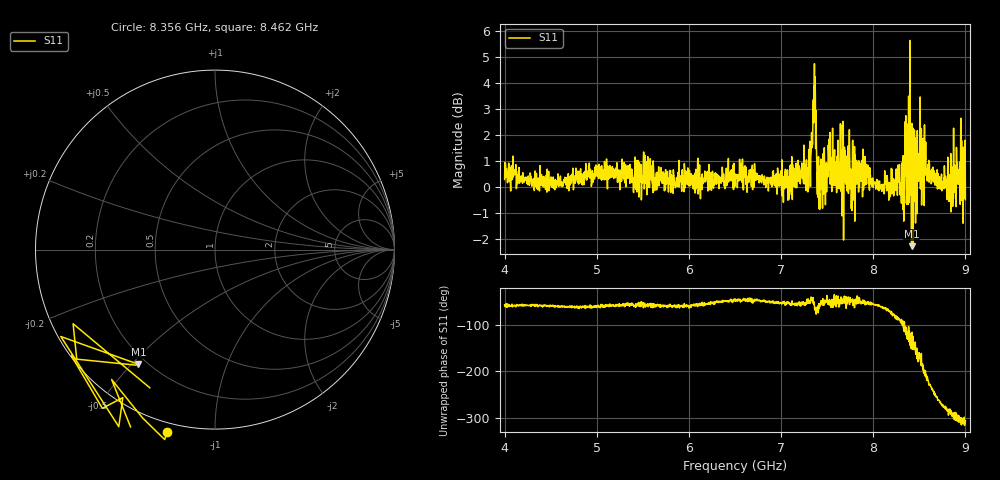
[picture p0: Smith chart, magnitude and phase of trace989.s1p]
! Created with skrf 1.8.0 (http://scikit-rf.org).
# Hz S RI R 50.0
!freq ReS11 ImS11
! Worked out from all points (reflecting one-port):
!   1601 points, 4 GHz to 9 GHz, reference 50 ohm
!   lowest |S11| = -2.3 dB at 8.416 GHz (marker M1), VSWR 7.64, Z = 8.38 - j26.2 ohm
!   phase of S11 starts at -56 deg and turns -251 deg over the sweep
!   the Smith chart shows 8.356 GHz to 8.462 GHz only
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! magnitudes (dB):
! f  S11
! 4 GHz  0.3
! 4.625 GHz  0.0
! 5.25 GHz  -0.1
! 5.875 GHz  0.0
! 6.5 GHz  0.0
! 7.125 GHz  0.9
! 7.297 GHz  -0.1
! 7.356 GHz  3.9
! 7.372 GHz  3.5
! 7.397 GHz  0.6
! 7.412 GHz  -0.8
! 7.538 GHz  1.1
! 7.75 GHz  -0.1
! 7.775 GHz  1.7
! 7.838 GHz  0.9
! 8.097 GHz  0.1
! 8.294 GHz  -0.2
! 8.316 GHz  0.6
! 8.375 GHz  1.6
! 8.416 GHz  -2.3
! 8.441 GHz  2.1
! 8.459 GHz  -1.4
! 8.475 GHz  -1.0
! 8.497 GHz  0.9
! 8.731 GHz  0.0
! 8.841 GHz  1.3
! 8.972 GHz  0.8
! 9 GHz  -0.5
